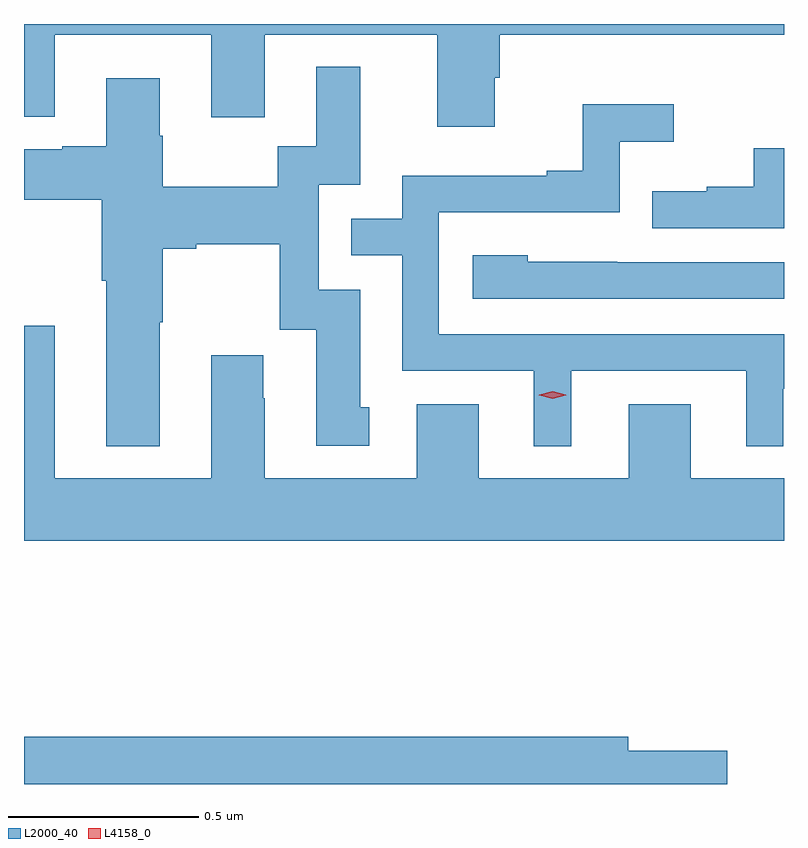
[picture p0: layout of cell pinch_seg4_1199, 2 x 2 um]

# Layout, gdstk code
import gdstk
lib = gdstk.Library(unit=1e-6, precision=1e-09)
def P(c, l, *ps):  # polygons
    for p in ps: c.add(gdstk.Polygon(p, *l))
L2000_40 = (2000, 40)
L4158_0 = (4158, 0)

pinch_seg4_1199 = lib.new_cell('pinch_seg4_1199')
P(pinch_seg4_1199, L2000_40, [(508.648,784.616),(508.729,784.616),(508.729,784.832),(509.141,784.832),(509.141,784.614),(509.281,784.614),(509.281,784.832),(509.735,784.832),(509.735,784.59),(509.887,784.59),(509.887,784.719),(509.9,784.719),(509.9,784.832),(510.648,784.832),(510.648,784.86),(508.648,784.86)],
  [(509.005,784.075),(509.013,784.075),(509.013,784.268),(509.101,784.268),(509.101,784.28),(509.321,784.28),(509.321,784.056),(509.417,784.056),(509.417,783.75),(509.557,783.75),(509.557,783.852),(509.533,783.852),(509.533,784.161),(509.424,784.161),(509.424,784.437),(509.533,784.437),(509.533,784.747),(509.417,784.747),(509.417,784.538),(509.316,784.538),(509.316,784.432),(509.013,784.432),(509.013,784.566),(509.005,784.566),(509.005,784.717),(508.865,784.717),(508.865,784.538),(508.749,784.538),(508.749,784.531),(508.648,784.531),(508.648,784.397),(508.853,784.397),(508.853,784.184),(508.865,784.184),(508.865,783.749),(509.005,783.749)],
  [(510.088,783.948),(510.548,783.948),(510.548,783.749),(510.646,783.749),(510.646,783.9),(510.648,783.9),(510.648,784.044),(509.739,784.044),(509.739,784.365),(510.216,784.365),(510.216,784.55),(510.358,784.55),(510.358,784.649),(510.118,784.649),(510.118,784.474),(510.023,784.474),(510.023,784.461),(509.643,784.461),(509.643,784.347),(509.509,784.347),(509.509,784.251),(509.643,784.251),(509.643,783.948),(509.99,783.948),(509.99,783.749),(510.088,783.749)],
  [(510.648,784.533),(510.569,784.533),(510.569,784.432),(510.445,784.432),(510.445,784.42),(510.301,784.42),(510.301,784.323),(510.648,784.323)],
  [(510.648,784.233),(510.209,784.233),(510.209,784.234),(509.973,784.234),(509.973,784.252),(509.829,784.252),(509.829,784.137),(510.648,784.137)],
  [(510.648,783.664),(510.403,783.664),(510.403,783.859),(510.239,783.859),(510.239,783.664),(509.845,783.664),(509.845,783.859),(509.681,783.859),(509.681,783.664),(509.281,783.664),(509.281,783.875),(509.278,783.875),(509.278,783.988),(509.141,783.988),(509.141,783.664),(508.729,783.664),(508.729,784.066),(508.648,784.066),(508.648,783.5),(510.648,783.5)],
  [(510.499,782.948),(510.238,782.948),(510.238,782.984),(508.648,782.984),(508.648,782.86),(510.499,782.86)])
P(pinch_seg4_1199, L4158_0, [(510.039,783.874),(510.004,783.883),(510.003,783.883),(510.004,783.884),(510.039,783.893),(510.074,783.884),(510.075,783.883),(510.074,783.883)])

lib.write_gds('pinch_seg4_1199.gds')
